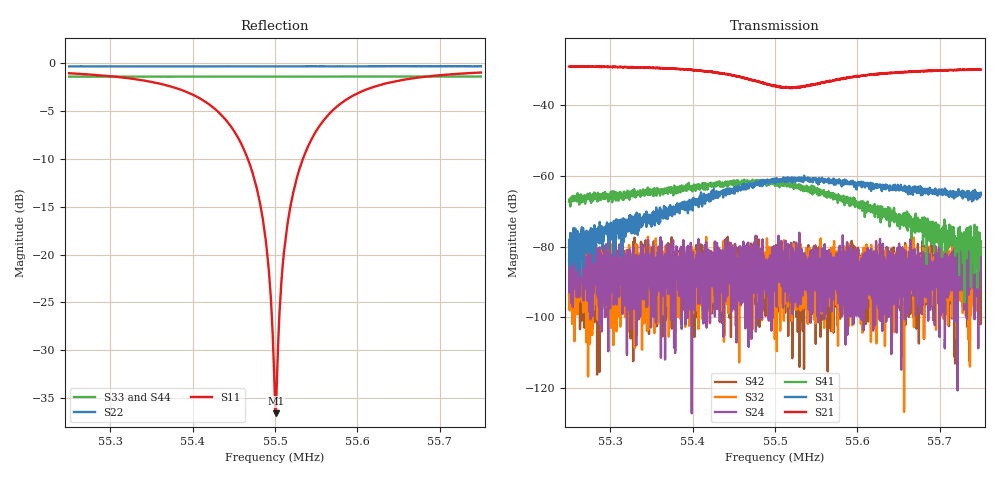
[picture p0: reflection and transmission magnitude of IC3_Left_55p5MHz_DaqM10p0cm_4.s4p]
#  HZ  S  DB  R  50.00
! Rohde & Schwarz Vector Network Analyzer
! Rohde-Schwarz,ZNB8-4Port,1311601044102961,2.82
! Created: UTC 2/13/2019, 9:57:24 AM
! freq[Hz]  db:S11  ang:S11  db:S12  ang:S12  db:S13  ang:S13  db:S14  ang:S14
!  db:S21  ang:S21  db:S22  ang:S22  db:S23  ang:S23  db:S24  ang:S24
!  db:S31  ang:S31  db:S32  ang:S32  db:S33  ang:S33  db:S34  ang:S34
!  db:S41  ang:S41  db:S42  ang:S42  db:S43  ang:S43  db:S44  ang:S44
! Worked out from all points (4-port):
!   2001 points, 55.25 MHz to 55.75 MHz, reference 50 ohm
!   strongest paths, dB at 55.25 MHz, 55.375 MHz, 55.5 MHz, 55.625 MHz, 55.75 MHz:
!     S21: -29.1, -29.7, -34.7, -31.3, -30.0
!     S31: -80.1, -71.4, -60.8, -63.2, -64.8
!     S41: -67.4, -64.6, -62.9, -71.8, -82.3
!     S24: -82.2, -86.5, -81.3, -82.4, -81.8
!     S32: -92.0, -83.2, -83.1, -88.9, -84.4
!     S42: -84.0, -87.2, -84.1, -83.3, -100.5
!   lowest |S11| = -36.6 dB at 55.501 MHz (marker M1), VSWR 1.03, Z = 49.5 - j1.38 ohm
!   |S11| at or under -10 dB: 55.46701 MHz to 55.53388 MHz (66.88 kHz wide, 0.12 % of centre)
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5.525e7  -1.03 -127.2  -29.08 72.6  -79.54 45.7  -67.24 -160.9
         -29.13 73.3  -0.31 94.3  -82.58 79.1  -82.19 80.8
         -80.08 0.4  -91.96 51.5  -1.39 34.9  -84.54 -165.3
         -67.36 -142.0  -84.01 -85.1  -96.73 -44.6  -1.38 28.5
5.54495e7  -6.97 -178.0  -31.69 51.9  -63.11 -22.3  -62.18 170.5
           -31.68 51.6  -0.31 90.7  -92.77 -155.4  -83.05 10.0
           -64.44 -23.4  -79.52 -170.6  -1.38 32.5  -85.29 66.3
           -62.24 168.2  -91.36 2.5  -84.57 28.0  -1.38 26.0
5.54845e7  -15.91 164.9  -33.74 53.3  -61.76 -35.8  -61.80 149.8
           -33.77 54.2  -0.31 90.0  -82.01 -45.8  -97.89 10.7
           -62.08 -42.9  -84.96 -126.0  -1.38 32.1  -89.65 -89.2
           -62.41 144.3  -86.86 59.7  -85.83 110.9  -1.37 25.6
5.5501e7  -36.61 -109.5  -34.75 59.0  -61.09 -50.1  -61.89 140.4
          -34.54 58.8  -0.31 89.7  -83.55 40.5  -85.93 46.8
          -61.59 -49.1  -93.69 77.4  -1.38 31.9  -90.27 -56.8
          -62.48 135.3  -90.87 -41.5  -87.23 101.8  -1.38 25.4
5.55165e7  -16.08 -46.1  -34.99 67.9  -61.41 -63.5  -62.05 130.0
           -34.97 68.0  -0.31 89.4  -84.13 79.0  -84.10 145.4
           -60.71 -64.6  -91.35 147.7  -1.38 31.7  -88.96 147.6
           -62.60 133.4  -85.50 49.6  -96.31 153.0  -1.37 25.2
5.555175e7  -6.85 -63.6  -33.97 81.8  -60.62 -85.4  -64.66 112.0
            -33.85 83.3  -0.31 88.8  -99.16 -45.5  -99.78 -176.9
            -61.21 -82.2  -89.07 -99.5  -1.38 31.3  -93.75 -95.4
            -65.33 108.3  -91.95 154.9  -90.96 162.3  -1.37 24.8
5.575e7  -0.96 -116.2  -29.99 72.9  -65.18 -133.0  -77.36 77.5
         -29.99 73.5  -0.30 85.2  -90.03 172.7  -81.80 148.1
         -64.79 -129.4  -84.38 74.8  -1.37 28.9  -83.21 -116.1
         -82.32 77.2  -100.53 -36.0  -90.80 162.7  -1.37 22.3
